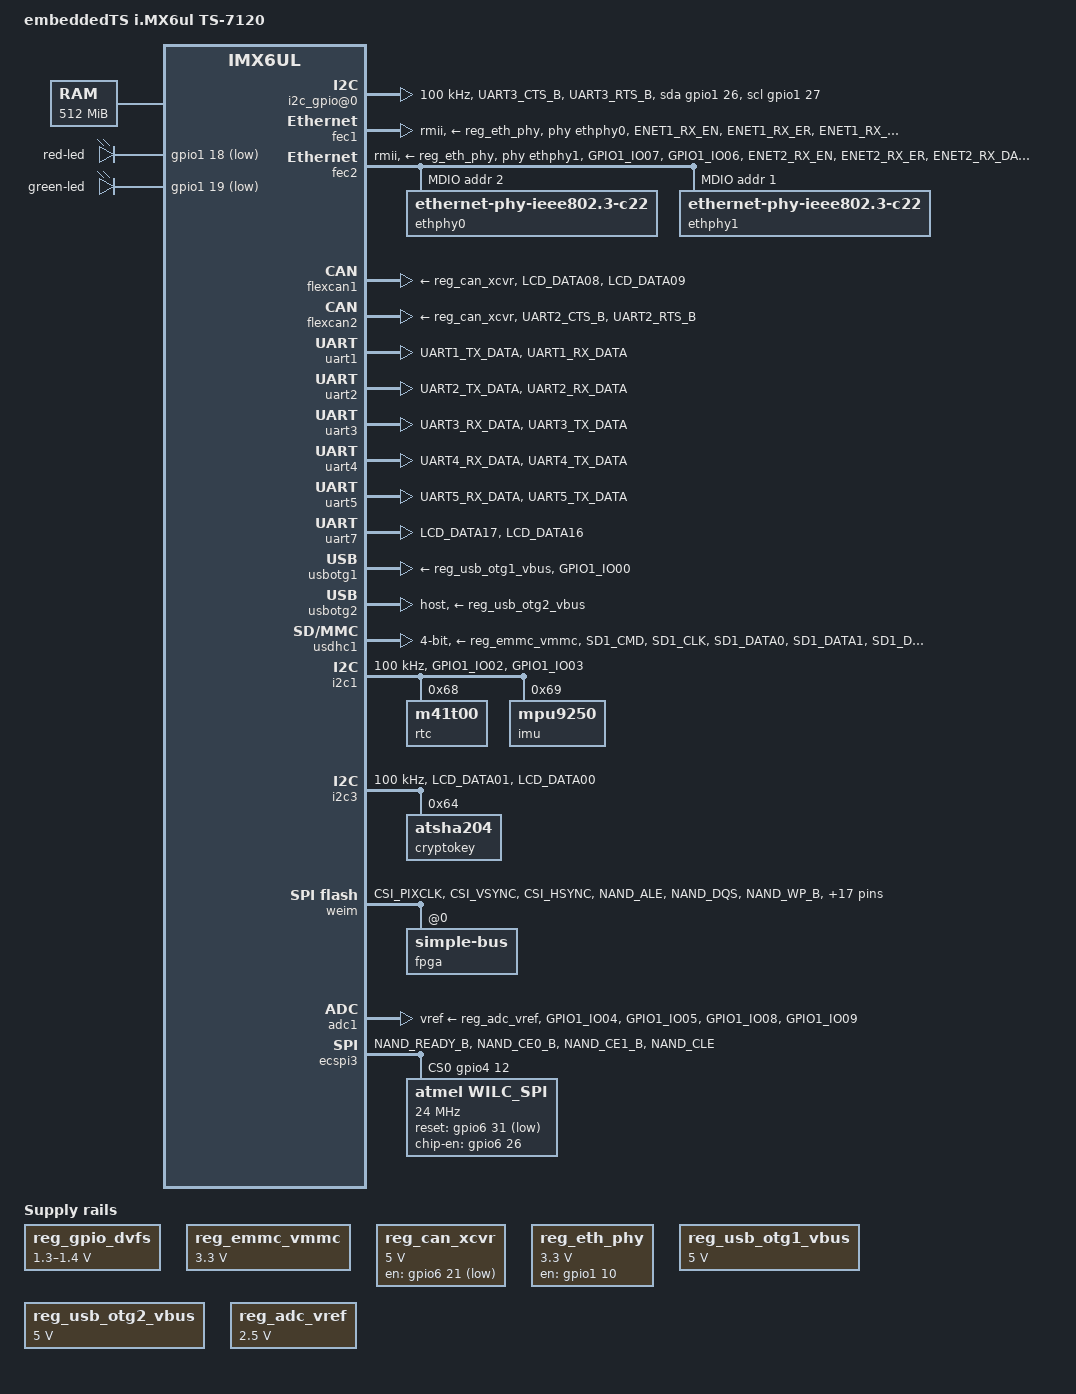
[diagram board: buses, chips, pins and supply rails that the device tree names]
/*
 * Copyright (C) 2019-2022 Technologic Systems, Inc. dba embeddedTS
 *
 * This program is free software; you can redistribute it and/or modify
 * it under the terms of the GNU General Public License version 2 as
 * published by the Free Software Foundation.
 */

/dts-v1/;
#include <dt-bindings/input/input.h>
#include <dt-bindings/interrupt-controller/irq.h>
#include "imx6ul.dtsi"

/ {
	model = "embeddedTS i.MX6ul TS-7120";
	compatible = "embeddedts,ts7120", "fsl,imx6ul";

	chosen {
		stdout-path = &uart1;
	};

	memory {
		reg = <0x80000000 0x20000000>;
	};

	leds {
		pinctrl-names = "default";
		compatible = "gpio-leds";

		red-led {
			label = "red-led";
			gpios = <&gpio1 18 GPIO_ACTIVE_LOW>;	// EN_RED_LED#
			default-state = "off";
		};

		green-led {
			label = "green-led";
			gpios = <&gpio1 19 GPIO_ACTIVE_LOW>;	// EN_GRN_LED#
			default-state = "on";
		};
	};

	reserved-memory {
		#address-cells = <1>;
		#size-cells = <1>;
		ranges;

		linux,cma {
			compatible = "shared-dma-pool";
			reusable;
			size = <0x14000000>;
			linux,cma-default;
		};
	};

	aliases {
		ethernet0 = &fec2;
		ethernet1 = &fec1;
	};

	pxp_v4l2 {
		compatible = "fsl,imx6ul-pxp-v4l2", "fsl,imx6sx-pxp-v4l2", "fsl,imx6sl-pxp-v4l2";
		status = "disabled";
	};

	regulators {
		compatible = "simple-bus";
		#address-cells = <1>;
		#size-cells = <0>;

		reg_gpio_dvfs: regulator-gpio {
			compatible = "regulator-gpio";
			pinctrl-names = "default";
			pinctrl-0 = <&pinctrl_dvfs>;
			regulator-min-microvolt = <1300000>;
			regulator-max-microvolt = <1400000>;
			regulator-name = "gpio_dvfs";
			regulator-type = "voltage";
			gpios = <&gpio5 3 GPIO_ACTIVE_HIGH>;	// this is the TAMPER3 pin
			states = <1300000 0x1 1400000 0x0>;
		};

		reg_emmc_vmmc: emmc_vmmc {
			compatible = "regulator-fixed";
			regulator-name = "EMMC_PWR";
			regulator-min-microvolt = <3300000>;
			regulator-max-microvolt = <3300000>;
			//gpio = <&gpio6 29 GPIO_ACTIVE_LOW>;	// en_emmc_3v3_padn driven by FPGA
			//enable-active-low;
			regulator-always-on;
			regulator-boot-on;
		};

		reg_can_xcvr: can_xcvr {
			compatible = "regulator-fixed";
			regulator-name = "CAN_PWR";
			regulator-min-microvolt = <5000000>;
			regulator-max-microvolt = <5000000>;
			gpio = <&gpio6 21 GPIO_ACTIVE_LOW>;	// en_can_xcvr_padn driven by FPGA
			enable-active-low;
		};

		reg_eth_phy: eth_phy {
			compatible = "regulator-fixed";
			regulator-name = "ETH_PHY_PWR";
			regulator-min-microvolt = <3300000>;
			regulator-max-microvolt = <3300000>;
			gpio = <&gpio1 10 GPIO_ACTIVE_HIGH>;	// EN_ETH_PHY_PWR driven by CPU
			enable-active-high;
			regulator-always-on;
			regulator-boot-on;
		};

		reg_usb_otg1_vbus: regulator@1 {
			compatible = "regulator-fixed";
			regulator-name = "usb_otg1_vbus";
			regulator-min-microvolt = <5000000>;
			regulator-max-microvolt = <5000000>;
			regulator-always-on;
			regulator-boot-on;
		};

		reg_usb_otg2_vbus: regulator@2 {
			compatible = "regulator-fixed";
			regulator-name = "usb_otg2_vbus";
			regulator-min-microvolt = <5000000>;
			regulator-max-microvolt = <5000000>;
			regulator-always-on;
			regulator-boot-on;
		};

		reg_adc_vref: adc_vref {
			compatible = "regulator-fixed";
			regulator-name = "ADC_VREF";
			regulator-min-microvolt = <2500000>;
			regulator-max-microvolt = <2500000>;
			//gpio = EN_2.5_VREF driven by Silabs;
			//enable-active-high;
		};
	};

	i2c_gpio@0 {
		compatible = "i2c-gpio";
		clock-frequency = <100000>;
		pinctrl-names = "default";
		pinctrl-0 = <&pinctrl_i2c4_gpio>;

		gpios = <
			&gpio1 26 GPIO_ACTIVE_HIGH /* MIKRO_I2C_DAT */
			&gpio1 27 GPIO_ACTIVE_HIGH /* MIKRO_I2C_CLK */
			>;

		status = "okay";
		i2c-gpio,sda-open-drain;
		i2c-gpio,scl-open-drain;
		i2c-gpio,delay-us = <2>;	/* ~100 kHz */
		#address-cells = <1>;
		#size-cells = <0>;

		/** Example:  An i2c SSD1306 OLED display may be attached to the
				Mikrobus socket, or to HD20, using the following configuration...

		 ssd1306: oled@3c {
			compatible = "solomon,ssd1306fb-i2c";
			reg = <0x3c>;
			reset-gpios = <&gpio6 10 0>;		// DIO_13
			solomon,height = <64>;
			solomon,width = <128>;
			solomon,page-offset = <0>;
			solomon,com-invdir;
			solomon,com-offset = <0>;
			solomon,prechargep1 = <1>;
			solomon,prechargep2 = <0xF>;
			status = "okay";
		};
		*/

	};


};

&cpu0 {
	arm-supply = <&reg_arm>;
	soc-supply = <&reg_soc>;
	dc-supply = <&reg_gpio_dvfs>;
};


&fec1 {
	phy-supply = <&reg_eth_phy>;
	pinctrl-names = "default";
	pinctrl-0 = <&pinctrl_enet1>;
	phy-mode = "rmii";
	phy-handle = <&ethphy0>;
	status = "okay";
};

&fec2 {
	phy-supply = <&reg_eth_phy>;
	pinctrl-names = "default";
	pinctrl-0 = <&pinctrl_enet2>;
	phy-mode = "rmii";
	phy-handle = <&ethphy1>;
	status = "okay";

	mdio {
		#address-cells = <1>;
		#size-cells = <0>;

		ethphy0: ethernet-phy@2 {
			compatible = "ethernet-phy-ieee802.3-c22";
			reg = <2>;
		};

		ethphy1: ethernet-phy@1 {
			compatible = "ethernet-phy-ieee802.3-c22";
			reg = <1>;
		};
	};
};

&flexcan1 {	// Screw terminals
	xceiver-supply = <&reg_can_xcvr>;
	pinctrl-names = "default";
	pinctrl-0 = <&pinctrl_flexcan1>;
	status = "okay";
};

&flexcan2 {	// COM header
	xceiver-supply = <&reg_can_xcvr>;
	pinctrl-names = "default";
	pinctrl-0 = <&pinctrl_flexcan2>;
	status = "okay";
};

&gpc {
	fsl,cpu_pupscr_sw2iso = <0x1>;
	fsl,cpu_pupscr_sw = <0x0>;
	fsl,cpu_pdnscr_iso2sw = <0x1>;
	fsl,cpu_pdnscr_iso = <0x1>;
	fsl,ldo-bypass = <0>; /* DCDC, ldo-enable */
};

&uart1 {	// console (aka /dev/ttymxc0)
	pinctrl-names = "default";
	pinctrl-0 = <&pinctrl_uart1>;
	status = "okay";
};

&uart2 {	// COM header (aka /dev/ttymxc1)
	pinctrl-names = "default";
	pinctrl-0 = <&pinctrl_uart2>;
	status = "okay";
};

&uart3 {	// DMX RJ45 (aka /dev/ttymxc2)
	pinctrl-names = "default";
	pinctrl-0 = <&pinctrl_uart3>;
	status = "okay";
};

&uart4 {	// OBD STN1110 (aka /dev/ttymxc3)
	pinctrl-names = "default";
	pinctrl-0 = <&pinctrl_uart4>;
	status = "okay";
};

&uart5 {	// Screw terminals (CN32-B) (aka /dev/ttymxc4)
	pinctrl-names = "default";
	pinctrl-0 = <&pinctrl_uart5>;
	status = "okay";
};

&uart7 {	// Mikro Bus Socket (aka /dev/ttymxc6)
	pinctrl-names = "default";
	pinctrl-0 = <&pinctrl_uart7>;
	status = "okay";
};


&usbotg1 {
	vbus-supply = <&reg_usb_otg1_vbus>;
	pinctrl-names = "default";
	pinctrl-0 = <&pinctrl_usb_otg1_id>;
	srp-disable;
	hnp-disable;
	adp-disable;
	status = "okay";
};

&usbotg2 {
	vbus-supply = <&reg_usb_otg2_vbus>;
	dr_mode = "host";
	disable-over-current;
	status = "okay";
};

&usdhc1 {	// eMMC
	pinctrl-names = "default", "state_100mhz", "state_200mhz";
	pinctrl-0 = <&pinctrl_usdhc1>;
	pinctrl-1 = <&pinctrl_usdhc1_100mhz>;
	pinctrl-2 = <&pinctrl_usdhc1_200mhz>;
	keep-power-in-suspend;
	enable-sdio-wakeup;
	bus-width = <4>;
	vmmc-supply = <&reg_emmc_vmmc>;
	status = "okay";
};


&i2c1 { // bus #0, Used by RTC; Gyro; and Silabs.
	clock-frequency = <100000>;
	pinctrl-names = "default", "gpio";
	pinctrl-0 = <&pinctrl_i2c1>;
	status = "okay";

	rtc: m41t00s@68 {
		compatible = "m41t00";
		reg = <0x68>;
	};

	imu: mpu9250a@69 {
		compatible = "mpu9250";
		reg = <0x69>;
		/* Note: GYRO_INT goes to the FPGA */
	};

};

&i2c3 {	// bus #2, Used by the cryptokey chip;  and CN99 off-board i2c
	clock-frequency = <100000>;
	pinctrl-names = "default", "gpio";
	pinctrl-0 = <&pinctrl_i2c3>;
	status = "okay";

	cryptokey: atsha204@64 {
		/* ATSHA204A Microchip CryptoAuthentication */
		compatible = "atsha204";
		reg = <0x64>;	// a different address may be programmed into
							// the device's EEPROM
	};
};

&weim {
	pinctrl-names = "default";
	pinctrl-0 = <&pinctrl_weim_fpga &pinctrl_weim_cs0>;
	#address-cells = <2>;
	#size-cells = <1>;
	clocks = <&clks IMX6UL_CLK_EIM>, <&clks IMX6UL_CLK_EIM_SLOW_SEL>;
	ranges = <0 0 0x50000000 0x08000000>;
	status = "okay";

	fpga: fpga@50000000 {
			compatible = "simple-bus";
			reg = <0 0x50000000 0x00010000>;
			#address-cells = <1>;
			#size-cells = <1>;
			ranges = <0 0 0 0x10000>;

			fsl,weim-cs-timing = <
				0x0161030F	// EIM_CSnGCR1 @ 0x021b8000
				0x00000000	// EIM_CSnGCR2 @ 0x021b8004
				0x03000000	// EIM_CSnRCR1 @ 0x021b8008
				0x00000000	// EIM_CSnRCR2 @ 0x021b800c
				0x01000000  // EIM_CSnWCR1 @ 0x021b8010
				0 				// EIM_CSnWCR2	@ 0x021b8014
			>;

		status = "okay";

		clocks {
			#address-cells = <1>;
			#size-cells = <1>;
			ranges;

			fpga_clk_99MHz: fpga_clk_99MHz {
				#clock-cells = <0>;
				compatible = "fixed-clock";
				clock-frequency = <99000000>;
			};
		};

		fpga_uart0: serial@0 {
			compatible = "ns16550a";
			device_type = "serial";
			current-speed = <115200>;
			reg-shift = <1>;
			reg-io-width = <1>;
			reg = <0 16>;
			clock-frequency = <1843200>;
			interrupt-parent = <&fpga_intc>;
			interrupts = <0>;
			status = "okay";
		};

		fpga_uart1: serial@10 {
			compatible = "ns16550a";
			device_type = "serial";
			current-speed = <115200>;
			reg-shift = <1>;
			reg-io-width = <1>;
			reg = <0x10 16>;
			clock-frequency = <1843200>;
			interrupt-parent = <&fpga_intc>;
			interrupts = <1>;
			status = "okay";
		};

		fpga_uart2: serial@20 {
			compatible = "ns16550a";
			device_type = "serial";
			current-speed = <115200>;
			reg-shift = <1>;
			reg-io-width = <1>;
			reg = <0x20 16>;
			clock-frequency = <1843200>;
			interrupt-parent = <&fpga_intc>;
			interrupts = <2>;
			status = "okay";
		};

		fpga_uart3: serial@30 {
			compatible = "ns16550a";
			device_type = "serial";
			current-speed = <115200>;
			reg-shift = <1>;
			reg-io-width = <1>;
			reg = <0x30 16>;
			clock-frequency = <1843200>;
			interrupt-parent = <&fpga_intc>;
			interrupts = <3>;
			status = "okay";
		};

		fpga_uart4: serial@40 {  // RS485 (on CN32)
			compatible = "ns16550a";
			device_type = "serial";
			current-speed = <115200>;
			reg-shift = <1>;
			reg-io-width = <1>;
			reg = <0x40 16>;
			clock-frequency = <1843200>;
			interrupt-parent = <&fpga_intc>;
			interrupts = <4>;
			status = "okay";
		};

		fpga_uart5: serial@50 {	// DMX 485
			compatible = "ns16550";
			device_type = "serial";
			current-speed = <115200>;
			reg-shift = <1>;
			reg-io-width = <1>;
			reg = <0x50 16>;
			clock-frequency = <1843200>;
			interrupt-parent = <&fpga_intc>;
			interrupts = <5>;
			status = "okay";
		};

		fpga_uart6: serial@60 {	// WIFI/Bluetooth
			compatible = "ns16550";
			device_type = "serial";
			current-speed = <115200>;
			reg-shift = <1>;
			reg-io-width = <1>;
			reg = <0x60 16>;
			clock-frequency = <14745600>;
			interrupt-parent = <&fpga_intc>;
			interrupts = <6>;
			status = "okay";
		};

		fpga_uart7: serial@70 {	// XBEE
			compatible = "ns16550";
			device_type = "serial";
			current-speed = <115200>;
			reg-shift = <1>;
			reg-io-width = <1>;
			reg = <0x70 16>;
			clock-frequency = <1843200>;
			interrupt-parent = <&fpga_intc>;
			interrupts = <7>;
			status = "okay";
		};

		fpga_uart8: serial@80 {	// GPS
			compatible = "ns16550";
			device_type = "serial";
			current-speed = <115200>;
			reg-shift = <1>;
			reg-io-width = <1>;
			reg = <0x80 16>;
			clock-frequency = <1843200>;
			interrupt-parent = <&fpga_intc>;
			interrupts = <8>;
		};

		tssdcard: tssdcard1@200 { /* drivers/mmc/host/tssdcard.c */
			compatible = "embeddedts,tssdcard";
			#address-cells = <0x2>;
			#size-cells = <0x2>;
			/* driver requires access to 0x200 for the core, and also to syscon */
			reg = <0x200 0x200 0x4000 0x200>;
			tssdcard,ndevices = <1>;
			tssdcard,poll_rate = <1>;
			tssdcard,disable_poll = <0>;
			status = "okay";
		};

		opencores_spi0: opencores_spi@0 {
			#address-cells = <1>;
			#size-cells = <0>;
			compatible = "opencores,spi-oc";
			reg = <0x100 32>;
			interrupt-parent = <&fpga_intc>;
			interrupts = <9>;
			clocks = <&fpga_clk_99MHz>;
			clock-names = "spi-oc-clk";
			opencores-spi,idx = <0>;
			opencores-spi,num-chipselects = <1>;

			/* This is actually the FRAM, which is compatible with
				the AT25 SPI EEPROM */
			eeprom: at25@0 {
				compatible = "atmel,at25";
				at25,byte-len = <2048>;
				at25,addr-mode = <2>;
				at25,page-size = <32>;
				reg = <0>;
				spi-max-frequency = <1000000>;
				status = "okay";
			};
		};

		opencores_spi1: opencores_spi@1 {
			compatible = "opencores,spi-oc";
			reg = <0x120 32>;
			interrupt-parent = <&fpga_intc>;
			interrupts = <10>;
			clocks = <&fpga_clk_99MHz>;
			clock-names = "spi-oc-clk";
			opencores-spi,idx = <1>;
			opencores-spi,num-chipselects = <1>;

			/* Daughter-card SPI */
		};

		opencores_spi2: opencores_spi@2 {
			#address-cells = <1>;
			#size-cells = <0>;
			compatible = "opencores,spi-oc";
			reg = <0x140 32>;
			interrupt-parent = <&fpga_intc>;
			interrupts = <11>;
			clocks = <&fpga_clk_99MHz>;
			clock-names = "spi-oc-clk";
			opencores-spi,idx = <2>;
			opencores-spi,num-chipselects = <1>;

			/* Mikrobus Socket */
			/** Example:  An SPI SSD1306 OLED display may be attached to the
				Mikrobus socket, using the following configuration...

			ssd1306: ssd1306@0 {
				compatible = "solomon,ssd1306fb-spi";
				reg = <0>;
				spi-max-frequency = <10000000>;
				reset-gpios = <&gpio6 10 0>;		// DIO_13
				datcmd-gpios = <&gpio6 11 0>;		// DIO_14
				solomon,height = <64>;
				solomon,width = <128>;
				solomon,page-offset = <0>;
				solomon,com-invdir;
				solomon,com-offset = <0>;
				solomon,prechargep1 = <1>;
				solomon,prechargep2 = <0xF>;
				status = "okay";
			};
			*/
		};


		syscon: syscon@4000 {
			compatible = "simple-bus";
			#address-cells = <0x2>;
			#size-cells = <0x1>;
			reg = <0x4000 0x50>;
			ranges = <0 0 0x4000 0x50>;
			status = "okay";

			gpio6: fpga_gpio6@10 { /* drivers/gpio/gpio-ts7120.c */
				compatible = "embeddedts,TS7120-gpio";
				reg = <0 0 0x50>;
				gpio-controller;
				#gpio-cells = <2>;
				base = <160>;
				ngpios = <32>;
				interrupt-controller;
				#interrupt-cells = <1>;
				status = "okay";
			};

			micro_pwm: micro_pwm@3c { /* drivers/pwm/pwm-ts71xx.c */
				compatible = "embeddedts,ts7120-pwm";
				reg = <0x3c 0 4>;
				clocks = <&fpga_clk_99MHz>;
				clock-names = "fpga-pwm-clk";
				status = "okay";
			};


			fpga_intc: 	fpga_intc@0 { /* drivers/misc/ts-fpga/ts7120-intc.c */
				compatible = "embeddedts,TS7120-intc";

				interrupt-controller;
				#interrupt-cells = <1>;
				reg = <0 0 0x50>;

				interrupt-parent = <&gpio5>;
				interrupts = <1 IRQ_TYPE_EDGE_RISING>;
				status = "okay";
			};

		};

	 };


};

&snvs_poweroff {
	status = "okay";
};

&snvs_rtc {
	status = "disabled";
};



&adc1 {
	pinctrl-names = "default";
	pinctrl-0 = <&pinctrl_adc>;
	vref-supply = <&reg_adc_vref>;
	num-channels = <10>;
	status = "okay";
};

&ecspi3 {
	fsl,spi-num-chipselects = <1>;
	cs-gpios = <&gpio4 12 0>;		// SPI_3_CS#
	pinctrl-names = "default";
	pinctrl-0 = <&pinctrl_ecspi3>;
	status = "okay";

	wilc_spi@0 {
		compatible = "atmel,wilc_spi";
		reg = <0>;
		spi-max-frequency = <24000000>;
		wilc3000,reset-gpios = <&gpio6 31 GPIO_ACTIVE_LOW>;    /* RESET#, via fpga  */
		wilc3000,chip-en-gpios = <&gpio6 26 GPIO_ACTIVE_HIGH>;   /* Power enable via fpga */
		interrupt-parent = <&fpga_intc>;
		interrupts = <15>;

		status = "okay";
	 };
};


&iomuxc {
	pinctrl-names = "default";
	pinctrl-0 = <&pinctrl_hog>;
	imx6ul-ts7120 {
		pinctrl_hog: hoggrp {
			fsl,pins = <

			MX6UL_PAD_SNVS_TAMPER0__GPIO5_IO00	0x11020 // POWER_FAIL_3V
			MX6UL_PAD_SNVS_TAMPER1__GPIO5_IO01	0x13020 // FPGA_IRQ
			/* TAMPER2 is N/C on TS-7120 */
			/* TAMPER3 is GPIO_DVFS, see below */
			MX6UL_PAD_SNVS_TAMPER4__GPIO5_IO04	0x1b020 // EN_RELAY_1 (gpio132)
			MX6UL_PAD_SNVS_TAMPER5__GPIO5_IO05	0x1b020 // EN_RELAY_2 (gpio133)
			MX6UL_PAD_SNVS_TAMPER6__GPIO5_IO06	0x1b020 // EN_RELAY_3 (gpio134)
			MX6UL_PAD_SNVS_TAMPER7__GPIO5_IO07	0x1b020 // EN_RELAY_4 (gpio135)
			MX6UL_PAD_SNVS_TAMPER8__GPIO5_IO08	0x1b020 // EN_RELAY_5 (gpio136)
			MX6UL_PAD_SNVS_TAMPER9__GPIO5_IO09	0x1b020 // EN_RELAY_6 (gpio137)
			MX6UL_PAD_UART1_CTS_B__GPIO1_IO18	0x1b020 // EN_RED_LED#
			MX6UL_PAD_UART1_RTS_B__GPIO1_IO19	0x1b020 // EN_GRN_LED#
			>;
		};

		/******************************************************************/
		/**** USB OTG ****/
		pinctrl_usb_otg1_id: usbotg1idgrp {
			fsl,pins = <
				MX6UL_PAD_GPIO1_IO00__ANATOP_OTG1_ID	0x17059	// BOOT_MODE_0
			>;
		};

		/******************************************************************/
		/**** CAN ****/
		pinctrl_flexcan1: flexcan1grp{
			fsl,pins = <
				MX6UL_PAD_LCD_DATA08__FLEXCAN1_TX	0x1b020	// CAN_1_TXD
				MX6UL_PAD_LCD_DATA09__FLEXCAN1_RX	0x1b020	// CAN_1_RXD_3V
			>;
		};

		pinctrl_flexcan2: flexcan2grp{
			fsl,pins = <
				MX6UL_PAD_UART2_CTS_B__FLEXCAN2_TX	0x1b020	// CAN_2_TXD
				MX6UL_PAD_UART2_RTS_B__FLEXCAN2_RX	0x1b020	// CAN_2_RXD_3V
			>;
		};

		/******************************************************************/
		/**** UARTS ****/
		pinctrl_uart1: uart1grp {
			fsl,pins = <
				MX6UL_PAD_UART1_TX_DATA__UART1_DCE_TX 0x1b0b1	// CONSOLE_TXD
				MX6UL_PAD_UART1_RX_DATA__UART1_DCE_RX 0x1b0b1	// CONSOLE_RXD
			>;
		};

		pinctrl_uart2: uart2grp {
			fsl,pins = <
				MX6UL_PAD_UART2_TX_DATA__UART2_DCE_TX	0x1b0b1	// UART2_TXD
				MX6UL_PAD_UART2_RX_DATA__UART2_DCE_RX	0x1b0b1	// UART2_RXD
			>;
		};

		pinctrl_uart3: uart3grp {
			fsl,pins = <
				MX6UL_PAD_UART3_RX_DATA__UART3_DCE_RX	0x1b0b1	// UART3_RXD_3V
				MX6UL_PAD_UART3_TX_DATA__UART3_DCE_TX	0x1b0b1	// UART3_TXD
			>;
		};

		pinctrl_uart4: uart4grp {
			fsl,pins = <
				MX6UL_PAD_UART4_RX_DATA__UART4_DCE_RX	0x1b0b1	// UART4_RXD_3V
				MX6UL_PAD_UART4_TX_DATA__UART4_DCE_TX	0x1b0b1	// UART4_TXD
			>;
		};

		pinctrl_uart5: uart5grp {
			fsl,pins = <
				MX6UL_PAD_UART5_RX_DATA__UART5_DCE_RX	0x1b0b1	// UART5_RXD
				MX6UL_PAD_UART5_TX_DATA__UART5_DCE_TX	0x1b0b1	// UART5_TXD
			>;
		};

		pinctrl_uart7: uart7grp {
			fsl,pins = <
				MX6UL_PAD_LCD_DATA17__UART7_DCE_RX	0x1b0b1	// UART7_RXD
				MX6UL_PAD_LCD_DATA16__UART7_DCE_TX	0x1b0b1	// UART7_TXD
			>;
		};


		/**** ETHERNET ****/
		pinctrl_enet1: enet1grp {
			fsl,pins = <
				MX6UL_PAD_ENET1_RX_EN__ENET1_RX_EN	0x1b0b0	// to ETH1 PHY CRS
				MX6UL_PAD_ENET1_RX_ER__ENET1_RX_ER	0x1b0b0  // to ETH1 PHY RXER
				MX6UL_PAD_ENET1_RX_DATA0__ENET1_RDATA00	0x1b0b0 // to ETH1 PHY RXD0
				MX6UL_PAD_ENET1_RX_DATA1__ENET1_RDATA01	0x1b0b0 // to ETH1 PHY RXD1
				MX6UL_PAD_ENET1_TX_EN__ENET1_TX_EN	0x1b0b0 // to ETH1 PHY TXEN
				MX6UL_PAD_ENET1_TX_DATA0__ENET1_TDATA00	0x1b0b0 // to ETH1 PHY TXD0
				MX6UL_PAD_ENET1_TX_DATA1__ENET1_TDATA01	0x1b0b0 // to ETH1 PHY TXD1
				MX6UL_PAD_ENET1_TX_CLK__ENET1_REF_CLK1	0x4001b031 // to ETH1 PHY XTAL_IN
			>;
		};

		pinctrl_enet2: enet2grp {
			fsl,pins = <
				MX6UL_PAD_GPIO1_IO07__ENET2_MDC		0x1b0b0	// ETH_MDC
				MX6UL_PAD_GPIO1_IO06__ENET2_MDIO	0x1b0b0		// ETH_MDIO
				MX6UL_PAD_ENET2_RX_EN__ENET2_RX_EN	0x1b0b0	// to ETH2 PHY CRS
				MX6UL_PAD_ENET2_RX_ER__ENET2_RX_ER	0x1b0b0	// to ETH2 PHY RXER
				MX6UL_PAD_ENET2_RX_DATA0__ENET2_RDATA00	0x1b0b0 // to ETH2 PHY RXD0
				MX6UL_PAD_ENET2_RX_DATA1__ENET2_RDATA01	0x1b0b0 // to ETH2 PHY RXD1
				MX6UL_PAD_ENET2_TX_EN__ENET2_TX_EN	0x1b0b0	// to ETH2 PHY TXEN
				MX6UL_PAD_ENET2_TX_DATA0__ENET2_TDATA00	0x1b0b0 // to ETH2 PHY TXD0
				MX6UL_PAD_ENET2_TX_DATA1__ENET2_TDATA01	0x1b0b0 // to ETH2 PHY TXD1
				MX6UL_PAD_ENET2_TX_CLK__ENET2_REF_CLK2	0x4001b031 // to ETH2 PHY XTAL_IN

				MX6UL_PAD_JTAG_MOD__GPIO1_IO10      0x1f0b0	// EN_ETH_PHY_PWR
			>;
		};

		/******************************************************************/
		/**** I2C (cpu) ***/
		pinctrl_i2c1: i2c1grp {
			fsl,pins = <
				MX6UL_PAD_GPIO1_IO02__I2C1_SCL 0x4001b8b0	// I2C_1_CLK
				MX6UL_PAD_GPIO1_IO03__I2C1_SDA 0x4001b8b0 // I2C_1_DAT
			>;
		};

		pinctrl_i2c3: i2c3grp {
			fsl,pins = <
				MX6UL_PAD_LCD_DATA01__I2C3_SCL 0x4001b8b0	// I2C_3_CLK
				MX6UL_PAD_LCD_DATA00__I2C3_SDA 0x4001b8b0	// I2C_3_DAT
			>;
		};

		/**** I2C (bit-banged gpio) ***/
		pinctrl_i2c4_gpio: i2c4grpgpio {
			fsl,pins = <
				MX6UL_PAD_UART3_CTS_B__GPIO1_IO26	0x4001a8b0	// MIKRO_I2C_DAT
				MX6UL_PAD_UART3_RTS_B__GPIO1_IO27	0x4001a8b0	// MIKRO_I2C_CLK
			>;
		};


		/******************************************************************/
		/**** ADC ****/
		pinctrl_adc: adcgrp {
			fsl,pins = <
				MX6UL_PAD_GPIO1_IO04__GPIO1_IO04       0x1b020   // ADC_1
				MX6UL_PAD_GPIO1_IO05__GPIO1_IO05       0x1b020   // ADC_2
				MX6UL_PAD_GPIO1_IO08__GPIO1_IO08       0x1b020   // ADC_3
				MX6UL_PAD_GPIO1_IO09__GPIO1_IO09       0x1b020   // ADC_4
			>;
		};


		/******************************************************************/
		/**** USDHC (eMMC) ****/
		pinctrl_usdhc1: usdhc1grp {
			fsl,pins = <
				MX6UL_PAD_SD1_CMD__USDHC1_CMD        0x17059
				MX6UL_PAD_SD1_CLK__USDHC1_CLK        0x10071
				MX6UL_PAD_SD1_DATA0__USDHC1_DATA0    0x17059
				MX6UL_PAD_SD1_DATA1__USDHC1_DATA1    0x17059
				MX6UL_PAD_SD1_DATA2__USDHC1_DATA2    0x17059
				MX6UL_PAD_SD1_DATA3__USDHC1_DATA3    0x17059
			>;
		};


		pinctrl_usdhc1_100mhz: usdhc1grp100mhz {
			fsl,pins = <
				MX6UL_PAD_SD1_CMD__USDHC1_CMD     0x170b9
				MX6UL_PAD_SD1_CLK__USDHC1_CLK     0x100b9
				MX6UL_PAD_SD1_DATA0__USDHC1_DATA0 0x170b9
				MX6UL_PAD_SD1_DATA1__USDHC1_DATA1 0x170b9
				MX6UL_PAD_SD1_DATA2__USDHC1_DATA2 0x170b9
				MX6UL_PAD_SD1_DATA3__USDHC1_DATA3 0x170b9
			>;
		};

		pinctrl_usdhc1_200mhz: usdhc1grp200mhz {
			fsl,pins = <
				MX6UL_PAD_SD1_CMD__USDHC1_CMD     0x170f9
				MX6UL_PAD_SD1_CLK__USDHC1_CLK     0x100f9
				MX6UL_PAD_SD1_DATA0__USDHC1_DATA0 0x170f9
				MX6UL_PAD_SD1_DATA1__USDHC1_DATA1 0x170f9
				MX6UL_PAD_SD1_DATA2__USDHC1_DATA2 0x170f9
				MX6UL_PAD_SD1_DATA3__USDHC1_DATA3 0x170f9
			>;
		};


		/******************************************************************/
		/**** SPI (for WIFI/Bluetooth Module) ****/
		pinctrl_ecspi3: ecspi3grp {
			fsl,pins = <
				MX6UL_PAD_NAND_READY_B__GPIO4_IO12  0x10b0 // SPI_3_CS#
				MX6UL_PAD_NAND_CE0_B__ECSPI3_SCLK   0x10b0 // SPI_3_CLK
				MX6UL_PAD_NAND_CE1_B__ECSPI3_MOSI   0x10b0 // SPI_3_MOSI
				MX6UL_PAD_NAND_CLE__ECSPI3_MISO     0x10b0 // SPI_3_MISO
				// Note: WiFi IRQ goes to the FPGA
			>;
		};


		/******************************************************************/
		/**** DVFS ****/
		pinctrl_dvfs: dvfsgrp {
			fsl,pins = <
				MX6UL_PAD_SNVS_TAMPER3__GPIO5_IO03	0x79	// GPIO_DVFS
			>;
		};


		pinctrl_weim_cs0: weimcs0grp {
			fsl,pins = <
				MX6UL_PAD_CSI_MCLK__GPIO4_IO17 	0xb029			//  EIM_CS0
			//	MX6UL_PAD_CSI_MCLK__EIM_CS0_B		0xb029
			>;
		};

		pinctrl_weim_fpga: weimfpgagrp {
			fsl,pins = <
				MX6UL_PAD_CSI_PIXCLK__EIM_OE			0xb029		// EIM_OE#
				MX6UL_PAD_CSI_VSYNC__EIM_RW			0xb029		// EIM_WE#
				MX6UL_PAD_CSI_HSYNC__EIM_LBA_B		0xb029		// EIM_LBA#
				MX6UL_PAD_NAND_ALE__GPIO4_IO10		0xb029		// EIM_IRQ
				MX6UL_PAD_NAND_DQS__EIM_WAIT			0xb029		// EIM_WAIT
				MX6UL_PAD_NAND_WP_B__EIM_BCLK			0xb029		// EIM_BCLK

				MX6UL_PAD_NAND_DATA07__EIM_AD15		0xb029		// EIM_AD_15
				MX6UL_PAD_NAND_DATA06__EIM_AD14		0xb029
				MX6UL_PAD_NAND_DATA05__EIM_AD13		0xb029
				MX6UL_PAD_NAND_DATA04__EIM_AD12		0xb029
				MX6UL_PAD_NAND_DATA03__EIM_AD11		0xb029
				MX6UL_PAD_NAND_DATA02__EIM_AD10		0xb029
				MX6UL_PAD_NAND_DATA01__EIM_AD09		0xb029
				MX6UL_PAD_NAND_DATA00__EIM_AD08		0xb029
				MX6UL_PAD_CSI_DATA07__EIM_AD07		0xb029
				MX6UL_PAD_CSI_DATA06__EIM_AD06		0xb029
				MX6UL_PAD_CSI_DATA05__EIM_AD05		0xb029
				MX6UL_PAD_CSI_DATA04__EIM_AD04		0xb029
				MX6UL_PAD_CSI_DATA03__EIM_AD03		0xb029
				MX6UL_PAD_CSI_DATA02__EIM_AD02		0xb029
				MX6UL_PAD_CSI_DATA01__EIM_AD01 		0xb029
				MX6UL_PAD_CSI_DATA00__EIM_AD00		0xb029		// EIM_AD_00
			>;
		};
	};
};
